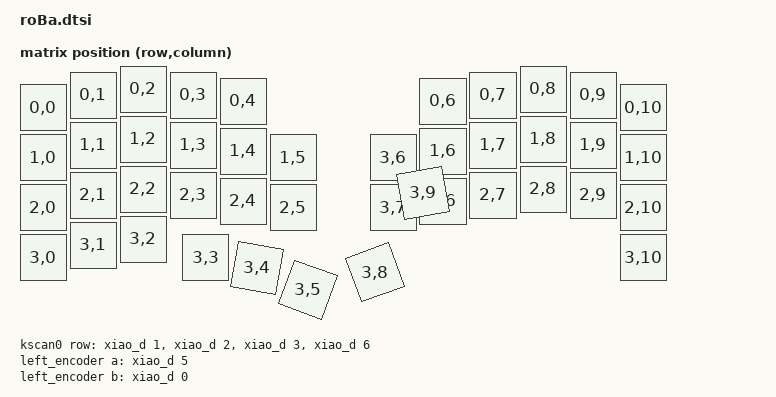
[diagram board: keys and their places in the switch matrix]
#include <dt-bindings/zmk/matrix_transform.h>
#include <physical_layouts.dtsi>

/ {
    chosen {
        zmk,physical-layout = &roba_physical_layout;
    };

    roba_physical_layout: roba_physical_layout {
        compatible = "zmk,physical-layout";
        display-name = "Default";
        transform = <&default_transform>;
        kscan = <&kscan0>;

        keys  //                     w   h    x    y     rot    rx    ry
            = <&key_physical_attrs 100 100    0   37       0     0     0>
            , <&key_physical_attrs 100 100  100   12       0     0     0>
            , <&key_physical_attrs 100 100  200    0       0     0     0>
            , <&key_physical_attrs 100 100  300   12       0     0     0>
            , <&key_physical_attrs 100 100  400   24       0     0     0>

            , <&key_physical_attrs 100 100  800   24       0     0     0>
            , <&key_physical_attrs 100 100  900   12       0     0     0>
            , <&key_physical_attrs 100 100 1000    0       0     0     0>
            , <&key_physical_attrs 100 100 1100   12       0     0     0>
            , <&key_physical_attrs 100 100 1200   37       0     0     0>

            , <&key_physical_attrs 100 100    0  137       0     0     0>
            , <&key_physical_attrs 100 100  100  112       0     0     0>
            , <&key_physical_attrs 100 100  200  100       0     0     0>
            , <&key_physical_attrs 100 100  300  112       0     0     0>
            , <&key_physical_attrs 100 100  400  124       0     0     0>
            , <&key_physical_attrs 100 100  500  137       0     0     0>

            , <&key_physical_attrs 100 100  700  137       0     0     0>
            , <&key_physical_attrs 100 100  800  124       0     0     0>
            , <&key_physical_attrs 100 100  900  112       0     0     0>
            , <&key_physical_attrs 100 100 1000  100       0     0     0>
            , <&key_physical_attrs 100 100 1100  112       0     0     0>
            , <&key_physical_attrs 100 100 1200  137       0     0     0>

            , <&key_physical_attrs 100 100    0  237       0     0     0>
            , <&key_physical_attrs 100 100  100  212       0     0     0>
            , <&key_physical_attrs 100 100  200  200       0     0     0>
            , <&key_physical_attrs 100 100  300  212       0     0     0>
            , <&key_physical_attrs 100 100  400  224       0     0     0>
            , <&key_physical_attrs 100 100  500  237       0     0     0>

            , <&key_physical_attrs 100 100  700  237       0     0     0>
            , <&key_physical_attrs 100 100  800  224       0     0     0>
            , <&key_physical_attrs 100 100  900  212       0     0     0>
            , <&key_physical_attrs 100 100 1000  200       0     0     0>
            , <&key_physical_attrs 100 100 1100  212       0     0     0>
            , <&key_physical_attrs 100 100 1200  237       0     0     0>

            , <&key_physical_attrs 100 100    0  337       0     0     0>
            , <&key_physical_attrs 100 100  100  312       0     0     0>
            , <&key_physical_attrs 100 100  200  300       0     0     0>
            , <&key_physical_attrs 100 100  325  337       0     0     0>
            , <&key_physical_attrs 100 100  437  350    1000   437   350>
            , <&key_physical_attrs 100 100  550  387    2000   550   387>



            , <&key_physical_attrs 100 100  650  387 (-2000)   650   387>
            , <&key_physical_attrs 100 100  763  350 (-1000)     0   350>

            , <&key_physical_attrs 100 100 1200  337       0     0     0>

            ;
    };

    default_transform: keymap_transform_0 {
        compatible = "zmk,matrix-transform";
        columns = <11>;
        rows = <4>;
        map = <
            RC(0,0) RC(0,1) RC(0,2) RC(0,3) RC(0,4)                     RC(0,6) RC(0,7) RC(0,8) RC(0,9) RC(0,10)
            RC(1,0) RC(1,1) RC(1,2) RC(1,3) RC(1,4) RC(1,5)     RC(3,6) RC(1,6) RC(1,7) RC(1,8) RC(1,9) RC(1,10)
            RC(2,0) RC(2,1) RC(2,2) RC(2,3) RC(2,4) RC(2,5)     RC(3,7) RC(2,6) RC(2,7) RC(2,8) RC(2,9) RC(2,10)
            RC(3,0) RC(3,1) RC(3,2) RC(3,3) RC(3,4) RC(3,5)     RC(3,8) RC(3,9)                         RC(3,10)
        >;
    };

    kscan0: kscan {
        compatible = "zmk,kscan-gpio-matrix";
        label = "KSCAN";
        diode-direction = "col2row";
            row-gpios
                = <&xiao_d 1 (GPIO_ACTIVE_HIGH | GPIO_PULL_DOWN)>
                , <&xiao_d 2 (GPIO_ACTIVE_HIGH | GPIO_PULL_DOWN)>
                , <&xiao_d 3 (GPIO_ACTIVE_HIGH | GPIO_PULL_DOWN)>
                , <&xiao_d 6 (GPIO_ACTIVE_HIGH | GPIO_PULL_DOWN)>
                ;
    };

    left_encoder: encoder_left {
        compatible = "alps,ec11";
        a-gpios = <&xiao_d 5 (GPIO_ACTIVE_HIGH | GPIO_PULL_UP)>;
        b-gpios = <&xiao_d 0 (GPIO_ACTIVE_HIGH | GPIO_PULL_UP)>;
        steps = <24>;
        status = "disabled";
    };

    right_encoder: encoder_right {
        status = "disabled";
    };

    sensors: sensors {
        compatible = "zmk,keymap-sensors";
        sensors = <&left_encoder &right_encoder>;
        triggers-per-rotation = <10>;
    };

    trackball_listener: trackball_listener {
        compatible = "zmk,input-listener";
        status = "disabled";
    };
};

&spi0 {
    status = "disabled";

    trackball: trackball@0 {
        status = "disabled";
        reg = <0>;
    };
};
